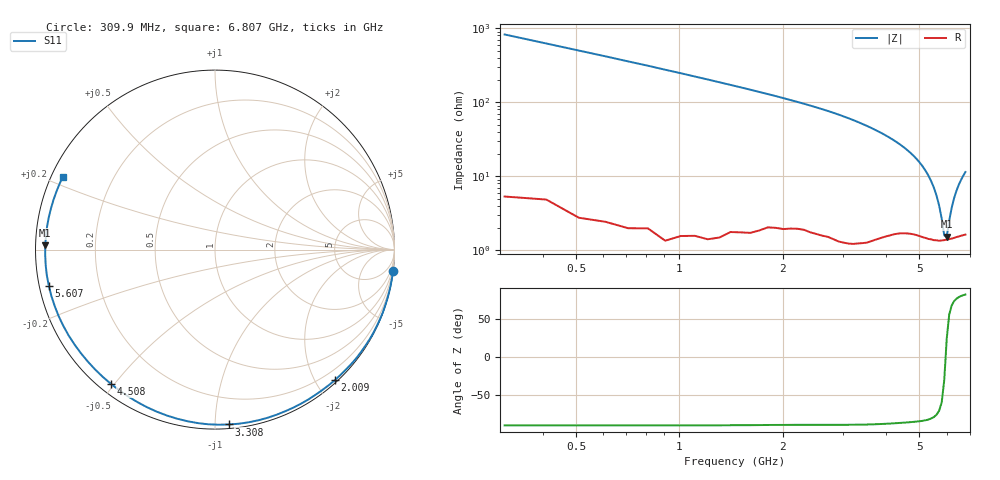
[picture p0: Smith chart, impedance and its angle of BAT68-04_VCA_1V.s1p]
! Infineon Technologies  Discrete & RF Semiconductors
! BAT68-04
! VCA = 1 V
! One-Port S-Parameters
# Hz  S  MA  R  50
!f  S11
!Hz  Mag  Ang
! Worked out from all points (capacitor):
!   66 points, 309.9 MHz to 6.807 GHz, reference 50 ohm
!   read as one part to ground: C = 620 fF near 309.9 MHz
!   lowest |Z| = 1.53 ohm at 6.007 GHz (marker M1)
!   series resonance near 5.963 GHz, so ESL is about 1.1 nH
!   S11 on the Smith chart (normalised r, x): 309.9 MHz: 0, -16; 2.009 GHz: 0.04, -2.28; 3.308 GHz: 0.02, -1.08; 4.508 GHz: 0.03, -0.49; 5.607 GHz: 0.03, -0.11; 6.807 GHz: 0.03, +0.23
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3.0985e8  0.9992 -6.9
6.097e8  0.9986 -13.7
8.096e8  0.998 -18.2
1.2094e9  0.9968 -27.6
1.6092e9  0.993 -37.4
2.009e9  0.9876 -47.4
2.30885e9  0.9839 -55.3
2.50875e9  0.9832 -60.8
2.8086e9  0.9818 -69.5
3.10845e9  0.9803 -78.8
3.30835e9  0.9776 -85.3
3.50825e9  0.9741 -92.1
3.6082e9  0.9715 -95.6
3.8081e9  0.9656 -102.6
4.008e9  0.9595 -109.7
4.2079e9  0.9534 -116.8
4.4078e9  0.9484 -124.1
4.50775e9  0.9468 -127.7
4.70765e9  0.9445 -135.0
4.90755e9  0.9442 -142.3
5.2074e9  0.9459 -153.3
5.4073e9  0.9468 -160.6
5.6072e9  0.9475 -167.8
5.8071e9  0.9473 -174.7
6.007e9  0.9458 178.6
6.2069e9  0.9443 172.1
6.4068e9  0.9423 166.0
6.8066e9  0.9398 154.5
